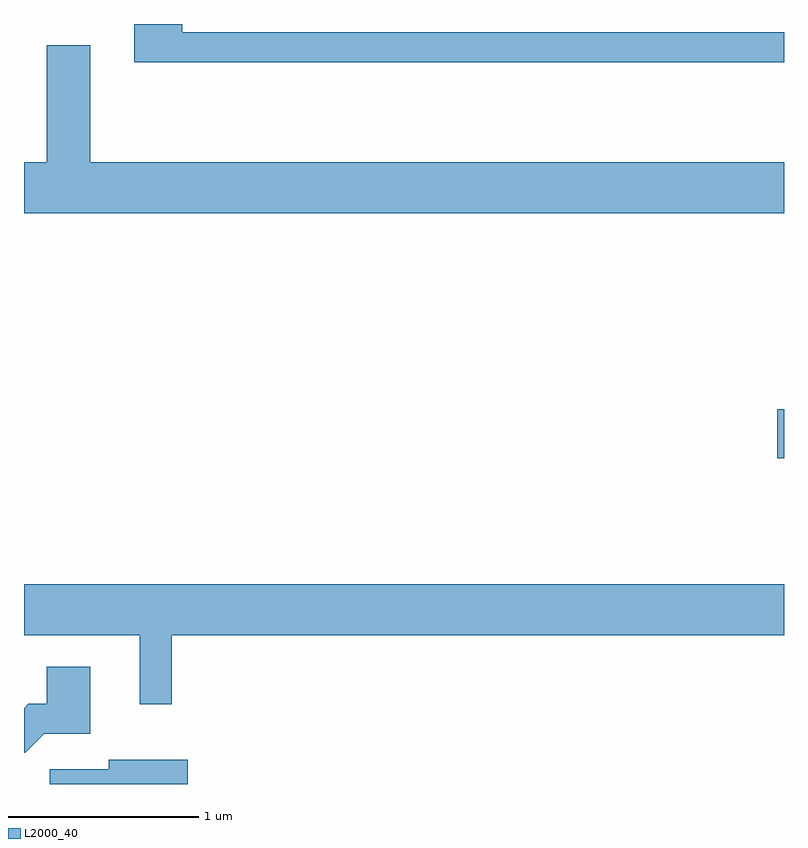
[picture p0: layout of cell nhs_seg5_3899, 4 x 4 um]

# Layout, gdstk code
import gdstk
lib = gdstk.Library(unit=1e-6, precision=1e-09)
def R(c, l, rs):  # rectangles x0, y0, x1, y1
    for r in rs: c.add(gdstk.rectangle(r[:2], r[2:], *l))
def P(c, l, *ps):  # polygons
    for p in ps: c.add(gdstk.Polygon(p, *l))
L2000_40 = (2000, 40)

nhs_seg5_3899 = lib.new_cell('nhs_seg5_3899')
R(nhs_seg5_3899, L2000_40, [(305.576,1397.786,305.611,1398.044)])
P(nhs_seg5_3899, L2000_40, [(305.611,1400.029),(302.444,1400.029),(302.444,1400.072),(302.191,1400.072),(302.191,1399.871),(305.611,1399.871)],
  [(305.611,1399.344),(301.959,1399.344),(301.959,1399.959),(301.731,1399.959),(301.731,1399.344),(301.611,1399.344),(301.611,1399.076),(305.611,1399.076)],
  [(302.389,1396.856),(305.611,1396.856),(305.611,1397.124),(301.611,1397.124),(301.611,1396.856),(302.221,1396.856),(302.221,1396.493),(302.389,1396.493)],
  [(301.717,1396.336),(301.959,1396.336),(301.959,1396.689),(301.731,1396.689),(301.731,1396.494),(301.634,1396.494),(301.611,1396.471),(301.611,1396.236),(301.617,1396.236)],
  [(302.474,1396.199),(302.056,1396.199),(302.056,1396.149),(301.746,1396.149),(301.746,1396.072),(302.474,1396.072)])

lib.write_gds('nhs_seg5_3899.gds')
